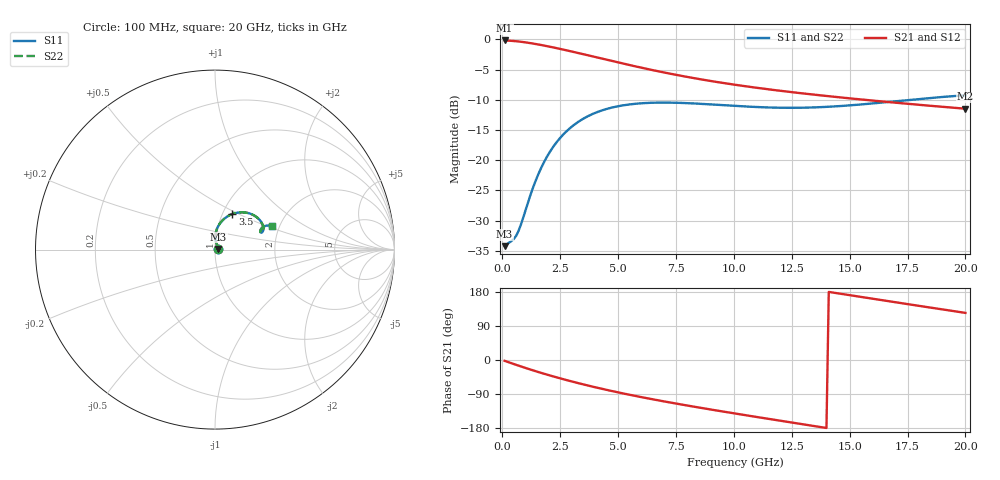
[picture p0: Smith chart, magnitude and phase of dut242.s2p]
! Touchstone file exported from HFSS 2024.1.0
!  File:  C:/UserFiles/LocalFiles/RDL_TSV_Batchsim/temp_RDL_TSV_242_1779454255.aedt
!  Generated:  09:11:25 PM May 22, 2026
!  Design:  RDL_TSV
!  Project:  temp_RDL_TSV_242_1779454255
!  Setup:  Setup1
!  Solution:  Sweep
! Variables:
!  dtsv = 11.4um
!  hbump = 3um
!  htsv = 75.24um
!  ldown = 474.91um
!  lrdl = 490.83um
!  p = 40
!  p1 = 59.23um
!  rhole = 10um
!  subl = 3388.05um
!  t = 450um
!  tdown = 3.97um
!  trdl = 3.73um
!  viad = 10um
!  wdown = 10.16um
!  wrdl = 29.45um
!  xbump = 18um
# GHz S MA R 50.000000
! Terminal data exported
! Port[1] = TM1_1_T1
! Port[2] = TM1_4_T1
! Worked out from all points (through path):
!   200 points, 100 MHz to 20 GHz, reference 50 ohm
!   highest |S21| = -0.17 dB at 100 MHz (marker M1); lowest = -11.5 dB at 20 GHz (marker M2)
!   group delay of S21, straight-line fit = 30.5 ps
!   lowest |S11| = -34.2 dB at 100 MHz (marker M3), VSWR 1.04, Z = 51.9 + j0.344 ohm
!   |S11| at or under -10 dB: start of sweep to 17.65 GHz
!   |S22| runs from -34.2 to -9.2 dB; largest |S21 - S12| = 1.3e-14
!   S11 on the Smith chart (normalised r, x): 100 MHz: 1.04, +0.01; 3.5 GHz: 1.11, +0.46; 20 GHz: 1.83, +0.55
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0.1  0.0194 9.8  0.9803 -2.2  0.9803 -2.2  0.0194 9.8
! Gamma 0 0 0 0
! Port Impedance 50 0 50 0
0.5  0.02226 42.4  0.9699 -10.7  0.9699 -10.7  0.02226 42.4
0.7  0.02592 60.4  0.9615 -14.9  0.9615 -14.9  0.02592 60.4
1.4  0.06451 88.0  0.9193 -28.8  0.9193 -28.8  0.06451 88.0
1.7  0.08798 87.8  0.8974 -34.4  0.8974 -34.4  0.08797 87.8
2  0.1126 85.1  0.8742 -39.8  0.8742 -39.8  0.1126 85.1
2.3  0.1371 81.3  0.8504 -45.1  0.8504 -45.1  0.1371 81.4
2.7  0.1681 75.6  0.8182 -51.8  0.8182 -51.8  0.1681 75.6
3.1  0.1962 69.7  0.786 -58.2  0.786 -58.2  0.1962 69.7
3.5  0.2206 64.0  0.7543 -64.4  0.7543 -64.4  0.2206 64.0
4.2  0.2543 54.8  0.7011 -74.6  0.7011 -74.6  0.2543 54.8
5.1  0.282 44.8  0.6384 -86.7  0.6384 -86.7  0.282 44.8
5.9  0.2948 37.5  0.5892 -96.7  0.5892 -96.7  0.2948 37.5
6.8  0.2997 31.1  0.5413 -107.2  0.5413 -107.2  0.2998 31.1
8.3  0.2947 23.9  0.477 -123.4  0.477 -123.4  0.2947 23.9
10.1  0.2811 20.2  0.4199 -141.7  0.4199 -141.7  0.2811 20.3
11.7  0.2725 20.4  0.3818 -157.3  0.3818 -157.3  0.2725 20.4
13.4  0.2732 22.5  0.3498 -173.7  0.3498 -173.7  0.2733 22.5
15  0.2842 24.4  0.3251 171.1  0.3251 171.1  0.2844 24.5
16.7  0.3038 25.3  0.3025 155.0  0.3025 155.0  0.3039 25.3
18.3  0.3248 24.5  0.284 140.0  0.284 140.0  0.325 24.6
20  0.345 22.4  0.2668 124.3  0.2668 124.3  0.3453 22.5
